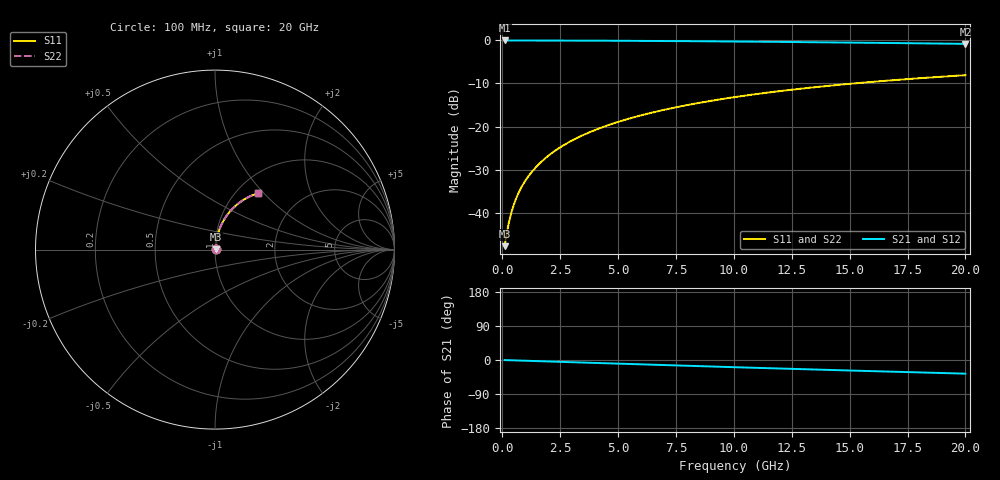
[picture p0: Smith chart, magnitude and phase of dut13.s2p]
! Touchstone file exported from HFSS 2026.1.0
!  File:  C:/ffzhzh/LocalFiles/Ansys_Project_Files/temp_train_TMRDL_13_1782880233_8056.aedt
!  Generated:  12:31:53 PM Jul  1, 2026
!  Design:  TMRDL
!  Project:  temp_train_TMRDL_13_1782880233_8056
! Variables:
!  h_bsmrdl = 2um
!  h_ox = 20um
!  h_rdl = 5um
!  h_sub = 80um
!  h_tmrdl = 2.53um
!  h_tsv = 80um
!  h_via = 3um
!  l_bsmrdl = 300um
!  l_sub = 853.9um
!  l_tmrdl = 453.9um
!  m_sub = 200um
!  pitch = 57.83um
!  r_tsv = 6um
!  s_tmrdl = 10um
!  w_bsmrdl = 18um
!  w_sub = 500um
!  w_tmrdl = 21.1um
!  x_tsv_center1 = 464.45um
!  x_tsv_center2 = 782.45um
!  x_tsv_center3 = 1257.45um
!  x_tsv_center4 = 1575.45um
!  x_tsv_center5 = 2050.45um
!  x_tsv_center6 = 2368.45um
# GHz S MA R 50.000000
! Terminal data exported
! Port[1] = TM_RDL1_1_T1
! Port[2] = TM_RDL1_1_T2
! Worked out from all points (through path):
!   200 points, 100 MHz to 20 GHz, reference 50 ohm
!   highest |S21| = -0.03 dB at 100 MHz (marker M1); lowest = -0.8 dB at 20 GHz (marker M2)
!   group delay of S21, straight-line fit = 5.02 ps
!   lowest |S11| = -47.8 dB at 100 MHz (marker M3), VSWR 1.01, Z = 50.3 + j0.245 ohm
!   |S11| at or under -10 dB: start of sweep to 15.19 GHz
!   |S22| runs from -47.8 to -8.1 dB; largest |S21 - S12| = 3.3e-15
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0.1  0.004091 36.6  0.9967 -0.2  0.9967 -0.2  0.004091 36.6
! Gamma 0 0 0 0
! Port Impedance 50 0 50 0
0.2  0.005914 55.1  0.9966 -0.4  0.9966 -0.4  0.005914 55.1
0.3  0.008035 63.9  0.9965 -0.6  0.9965 -0.6  0.008035 63.9
0.4  0.01024 68.8  0.9964 -0.8  0.9964 -0.8  0.01024 68.8
0.5  0.01246 71.9  0.9963 -1.0  0.9963 -1.0  0.01246 71.9
0.6  0.01468 74.0  0.9961 -1.2  0.9961 -1.2  0.01468 74.0
0.8  0.01914 76.7  0.9959 -1.6  0.9959 -1.6  0.01913 76.7
1.1  0.02583 78.8  0.9956 -2.2  0.9956 -2.2  0.02583 78.9
1.5  0.0348 80.2  0.9953 -2.9  0.9953 -2.9  0.0348 80.2
1.8  0.04155 80.7  0.9949 -3.5  0.9949 -3.5  0.04155 80.7
2.1  0.04831 80.8  0.9946 -4.1  0.9946 -4.1  0.04831 80.8
2.7  0.06182 80.7  0.9937 -5.2  0.9937 -5.2  0.06182 80.7
3.5  0.07977 80.0  0.9923 -6.8  0.9923 -6.8  0.07977 80.0
4.2  0.09539 79.1  0.9908 -8.1  0.9908 -8.1  0.09539 79.1
5  0.1131 77.9  0.9887 -9.6  0.9887 -9.6  0.1131 77.9
5.9  0.1328 76.4  0.986 -11.3  0.986 -11.3  0.1328 76.4
6.8  0.1522 74.9  0.983 -13.0  0.983 -13.0  0.1522 74.9
8.3  0.1839 72.3  0.9771 -15.8  0.9771 -15.8  0.1839 72.4
10.1  0.2207 69.2  0.9689 -19.1  0.9689 -19.1  0.2207 69.2
13.4  0.2842 63.5  0.9514 -25.0  0.9514 -25.0  0.2842 63.5
16.7  0.342 58.0  0.9315 -30.6  0.9315 -30.6  0.342 58.0
20  0.3939 52.7  0.9104 -36.0  0.9104 -36.0  0.3939 52.7
